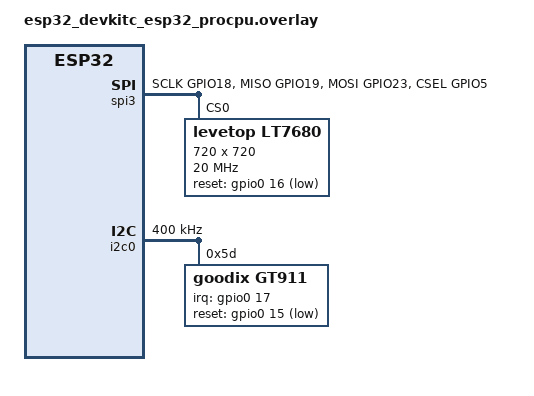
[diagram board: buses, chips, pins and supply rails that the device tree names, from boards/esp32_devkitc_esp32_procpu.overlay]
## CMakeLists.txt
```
cmake_minimum_required(VERSION 3.20.0)
find_package(Zephyr REQUIRED HINTS $ENV{ZEPHYR_BASE})
project(er_tft395)

target_sources(app PRIVATE src/main.c src/nv3052.c)
target_include_directories(app PRIVATE src)
```

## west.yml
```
manifest:

  defaults:
    remote: zephyrproject

  remotes:
    - name: zephyrproject
      url-base: https://github.com/zephyrproject-rtos

  projects:
    - name: zephyr
      path: zephyr
      revision: v4.5.0-rc1
      import:
        # By using name-allowlist we can clone only the modules that are
        # strictly needed by the application.
        name-allowlist:
          - hal_espressif
```

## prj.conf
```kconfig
CONFIG_LOG=y
CONFIG_SPI=y
CONFIG_I2C=y
CONFIG_GPIO=y

CONFIG_DISPLAY=y
CONFIG_DISPLAY_LOG_LEVEL_DBG=y
# one SPI transaction per pixel burst instead of polling FIFO per byte
CONFIG_LT7680_TRANSMIT_DATA_AS_BURST=y

CONFIG_INPUT=y
CONFIG_INPUT_GT911=y
CONFIG_INPUT_LOG_LEVEL_INF=y

CONFIG_MAIN_STACK_SIZE=4096

CONFIG_LOG=y
CONFIG_LOG_BACKEND_UART=y
CONFIG_LOG_MODE_IMMEDIATE=y
```

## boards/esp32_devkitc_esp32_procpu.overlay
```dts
/*
 * ER-TFT3.95-1 (LT7680 + 720x720 RGB panel + GT911 touch) on ESP32-WROOM-32 DevKitC
 * Values taken from the EastRising ESP32 Arduino tutorial (CTP_test: LCD.h, LCD.cpp, .ino).
 *
 * Wiring (from the tutorial):
 *   LT7680 SPI : CS=GPIO5  MISO=GPIO19  MOSI=GPIO23  SCK=GPIO18  RES=GPIO16
 *   GT911 CTP  : SDA=GPIO21 SCL=GPIO22  INT=GPIO17   RST=GPIO15  (I2C addr 0x5D)
 *   Panel init : CS=GPIO14  SDI=GPIO12  SCK=GPIO13   (separate 9-bit SPI, see note at bottom)
 *
 * Build (from the project root):
 *   west build -b esp32_devkitc/esp32/procpu .
 */

#include <zephyr/dt-bindings/gpio/gpio.h>
#include <zephyr/dt-bindings/spi/spi.h>
#include <zephyr/dt-bindings/input/input-event-codes.h>

&pinctrl {
	spim3_default: spim3_default {
		group1 {
			pinmux = <SPIM3_SCLK_GPIO18>,
				 <SPIM3_MISO_GPIO19>,
				 <SPIM3_MOSI_GPIO23>;
		};
		group2 {
			pinmux = <SPIM3_CSEL_GPIO5>;
			output-high;
		};
	};
};

&spi3 {
	status = "okay";
	pinctrl-0 = <&spim3_default>;
	pinctrl-names = "default";

	lt7680: lt7680@0 {
		compatible = "levetop,lt7680";
		reg = <0>;
		spi-max-frequency = <20000000>;     /* tutorial: SPISettings(20000000, MSBFIRST, SPI_MODE0) */

		width = <720>;                      /* LCD_XSIZE_TFT */
		height = <720>;                     /* LCD_YSIZE_TFT */
		x-offset = <0>;
		y-offset = <0>;
		reset-gpios = <&gpio0 16 GPIO_ACTIVE_LOW>;   /* LCM_RESET = 16 */
		reset-delay-ms = <100>;
		rotation = <0>;

		/*
		 * Panel timing from LCD.h. The driver also checks that the
		 * "clock-frequency" it is given is the 10 MHz crystal (OSC_FREQ 10 in
		 * the tutorial). UNVERIFIED: I could not read how the driver binds
		 * these (child node vs. properties on the lt7680 node). If the build
		 * complains, check drivers/display/display_lt7680.c in your tree and
		 * move these properties to wherever it reads them.
		 */
		display-timings {
			compatible = "zephyr,panel-timing";
			clock-frequency = <10000000>;
			hsync-len = <5>;       /* LCD_HSPW */
			hfront-porch = <15>;   /* LCD_HFPD */
			hback-porch = <80>;    /* LCD_HBPD */
			vsync-len = <5>;       /* LCD_VSPW */
			vfront-porch = <15>;   /* LCD_VFPD */
			vback-porch = <20>;    /* LCD_VBPD */
			hsync-active = <0>;    /* LCD_HSYNC_Active_Polarity */
			vsync-active = <0>;    /* LCD_VSYNC_Active_Polarity */
			de-active = <1>;       /* LCD_DE_Active_Polarity */
			pixelclk-active = <0>; /* LCD_PCLK_Falling_Rising = rising */
		};
	};
};

/* GT911 capacitive touch (tutorial: addr 0x5D, RST=15, INT=17) */
&i2c0 {
	status = "okay";
	pinctrl-0 = <&i2c0_default>;
	pinctrl-names = "default";
	clock-frequency = <I2C_BITRATE_FAST>;

	gt911: gt911@5d {
		compatible = "goodix,gt911";
		reg = <0x5d>;
		irq-gpios = <&gpio0 17 GPIO_ACTIVE_HIGH>;
		reset-gpios = <&gpio0 15 GPIO_ACTIVE_LOW>;
	};
};

/ {
	chosen {
		zephyr,display = &lt7680;
		zephyr,console = &uart0;
		zephyr,shell-uart = &uart0;
	};
};

/*
 * NOTE: the tutorial's LCD_init.h (nv3052_Initial, ~158 command/data pairs for the
 * NV3052 panel controller) is sent over a bit-banged 9-bit SPI (CS=14, SDI=12, SCK=13) before the
 * LT7680 output is useful. The upstream Zephyr driver does not do this, so
 * the app must replay that sequence (e.g. a small GPIO bit-bang routine) at boot.
 */
```

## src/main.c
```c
/*
 * ER-TFT3.95-1 on ESP32 (Zephyr): LT7680 display + GT911 touch.
 * - runs the NV3052 panel init (bit-banged SPI)
 * - draws colour bars
 * - draws a 16x16 square wherever the screen is touched
 */
#include "nv3052.h"
#include <zephyr/device.h>
#include <zephyr/drivers/display.h>
#include <zephyr/input/input.h>
#include <zephyr/kernel.h>
#include <zephyr/logging/log.h>

LOG_MODULE_REGISTER(app, LOG_LEVEL_INF);

#define W 720
#define H 720
#define BAND 60 /* rows per colour-bar write */

static const struct device *const disp =
    DEVICE_DT_GET(DT_CHOSEN(zephyr_display));
static const struct device *const touch = DEVICE_DT_GET(DT_NODELABEL(gt911));

static uint16_t line_buf[W * BAND]; /* 86 kB, RGB565 */
static uint16_t dot_buf[16 * 16];

static const uint16_t bars[] = {0xF800, 0xFFE0, 0x07E0, 0x07FF,
                                0x001F, 0xF81F, 0xFFFF, 0x0000};

static void draw_bars(void) {
  struct display_buffer_descriptor d = {
      .buf_size = sizeof(line_buf),
      .width = W,
      .height = BAND,
      .pitch = W,
  };

  for (int y = 0, b = 0; y < H; y += BAND, b++) {
    for (int i = 0; i < W * BAND; i++) {
      line_buf[i] =
          bars[(b + (i % W) / (W / ARRAY_SIZE(bars))) % ARRAY_SIZE(bars)];
    }
    display_write(disp, 0, y, &d, line_buf);
  }
}

/* ---- touch ---- */
static int tx, ty;
static bool tdown;
K_SEM_DEFINE(touch_sem, 0, 1);

static void input_cb(struct input_event *evt, void *user_data) {
  switch (evt->code) {
  case INPUT_ABS_X:
    tx = evt->value;
    break;
  case INPUT_ABS_Y:
    ty = evt->value;
    break;
  case INPUT_BTN_TOUCH:
    tdown = evt->value;
    break;
  }
  if (evt->sync) {
    k_sem_give(&touch_sem);
  }
}
INPUT_CALLBACK_DEFINE(touch, input_cb, NULL);

#include <zephyr/drivers/gpio.h>

int main(void) {
  LOG_INF("Hello\n");
  printf("Main\n");
  if (!device_is_ready(disp) || !device_is_ready(touch)) {
    LOG_ERR("display or touch not ready");
    return 0;
  }

#define BL_PIN 26
  const struct gpio_dt_spec bl = {.port = DEVICE_DT_GET(DT_NODELABEL(gpio0)),
                                  .pin = BL_PIN,
                                  .dt_flags = GPIO_ACTIVE_HIGH};
  gpio_pin_configure_dt(&bl, GPIO_OUTPUT_ACTIVE);

  int ret = nv3052_init();
  if (ret) {
    LOG_ERR("nv3052 init failed: %d", ret);
    return 0;
  }

  struct display_capabilities caps;
  display_get_capabilities(disp, &caps);
  LOG_INF("display %ux%u", caps.x_resolution, caps.y_resolution);
  if (!(caps.current_pixel_format & PIXEL_FORMAT_RGB_565)) {
    display_set_pixel_format(disp, PIXEL_FORMAT_RGB_565);
  }

  display_blanking_off(disp);
  draw_bars();

  for (int i = 0; i < ARRAY_SIZE(dot_buf); i++) {
    dot_buf[i] = 0xFFFF;
  }
  struct display_buffer_descriptor dd = {
      .buf_size = sizeof(dot_buf),
      .width = 16,
      .height = 16,
      .pitch = 16,
  };

  while (1) {
    k_sem_take(&touch_sem, K_FOREVER);
    if (tdown) {
      int x = CLAMP(tx - 8, 0, W - 16);
      int y = CLAMP(ty - 8, 0, H - 16);
      display_write(disp, x, y, &dd, dot_buf);
    }
  }
}
```
